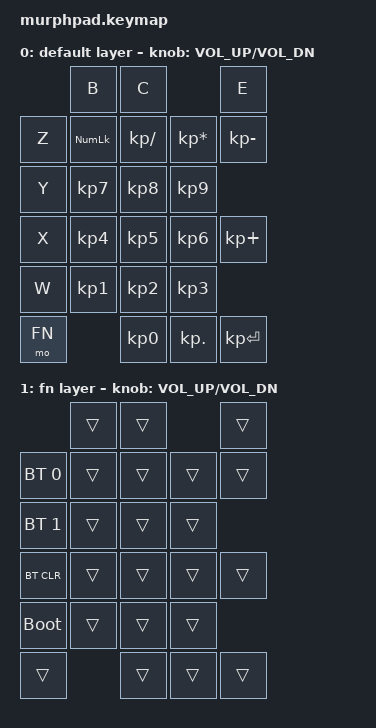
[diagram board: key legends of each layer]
/*
 * Copyright (c) 2021 Kyle McCreery
 *
 * SPDX-License-Identifier: MIT
 */

#include <behaviors.dtsi>
#include <dt-bindings/zmk/keys.h>
#include <dt-bindings/zmk/bt.h>
#include <dt-bindings/zmk/outputs.h>
#include <dt-bindings/zmk/rgb.h>

#define TIMEOUT 300

/* Layer Names*/
#define DEFAULT 0
#define FN      1

&encoder_1 {
    status = "okay";
};

/* Combo Definitions*/
/ {
    combos {
        compatible = "zmk,combos";
        combo_btclr {
            timeout-ms = <TIMEOUT>;
            key-positions = <1 6>;
            bindings = <&bt BT_CLR>;
        };
        combo_reset {
            timeout-ms = <TIMEOUT>;
            key-positions = <1 3>;
            bindings = <&sys_reset>;
        };
        combo_bootloader {
            timeout-ms = <TIMEOUT>;
            key-positions = <1 2>;
            bindings = <&bootloader>;
        };
        combo_bt_nxt {
            timeout-ms = <TIMEOUT>;
            key-positions = <1 4>;
            bindings = <&bt BT_NXT>;
        };
    };

    sensors {
        compatible = "zmk,keymap-sensors";
        sensors = <&encoder_1>;
    };


    keymap0: keymap {
        compatible = "zmk,keymap";

        default_layer {
        label = "default layer";
            bindings = <
								&kp B         	&kp C								&kp E
                &kp Z    		&kp KP_NLCK  	&kp KP_DIVIDE   &kp KP_ASTERISK		&kp KP_MINUS
                &kp Y    		&kp KP_N7     	&kp KP_N8       &kp KP_N9
                &kp X    		&kp KP_N4     	&kp KP_N5       &kp KP_N6			&kp KP_PLUS
                &kp W   		&kp KP_N1		&kp KP_N2       &kp KP_N3
                &mo FN							&kp KP_N0       &kp KP_DOT			&kp KP_ENTER
            >;
            sensor-bindings = <&inc_dec_kp C_VOL_UP C_VOL_DN>;

        };

        fn_layer {
        label = "fn layer";
            bindings = <
								&trans     	&trans       		   	&trans
                &bt BT_SEL 0  	&trans     	&trans       &trans   	&trans
                &bt BT_SEL 1  	&trans     	&trans       &trans
                &bt BT_CLR    	&trans     	&trans       &trans   	&trans
                &bootloader    	&trans     	&trans       &trans
                &trans   					&trans       &trans		&trans
            >;
            sensor-bindings = <&inc_dec_kp C_VOL_UP C_VOL_DN>;

        };
    };
};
